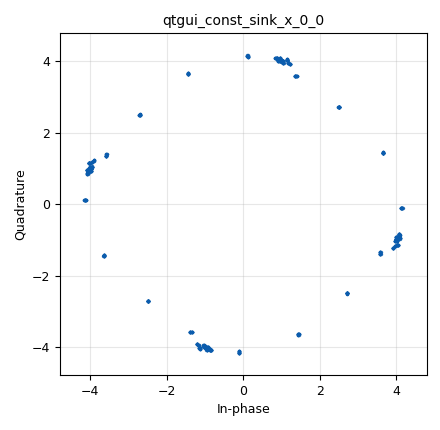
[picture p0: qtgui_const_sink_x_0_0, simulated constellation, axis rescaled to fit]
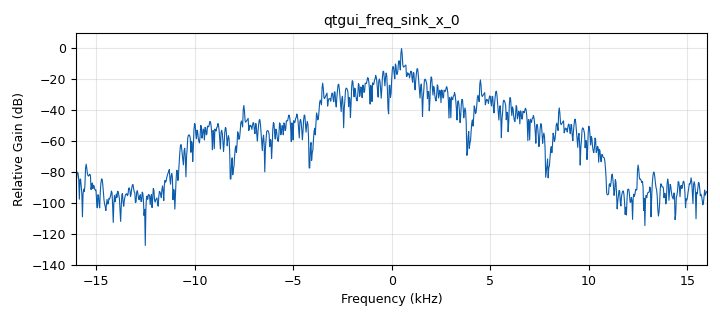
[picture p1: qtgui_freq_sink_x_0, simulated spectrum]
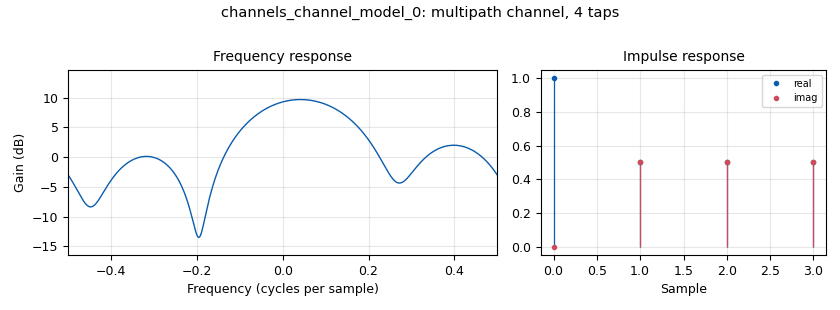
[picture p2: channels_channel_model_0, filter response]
options:
  parameters:
    author: Studente
    generate_options: qt_gui
    id: parta
    output_language: python
    title: Not titled yet
  states: {}

blocks:
- name: a1
  id: variable_qtgui_range
  parameters:
    start: '-2'
    step: '0.1'
    stop: '2'
    value: '0.5'
  states: {}
- name: a2
  id: variable_qtgui_range
  parameters:
    start: '-2'
    step: '0.1'
    stop: '2'
    value: '0.5'
  states: {}
- name: b1
  id: variable_qtgui_range
  parameters:
    start: '-2'
    step: '0.1'
    stop: '2'
    value: '0.5'
  states: {}
- name: b2
  id: variable_qtgui_range
  parameters:
    start: '-2'
    step: '0.1'
    stop: '2'
    value: '0.5'
  states: {}
- name: c1
  id: variable_qtgui_range
  parameters:
    start: '-2'
    step: '0.1'
    stop: '2'
    value: '0.5'
  states: {}
- name: c2
  id: variable_qtgui_range
  parameters:
    start: '-2'
    step: '0.1'
    stop: '2'
    value: '0.5'
  states: {}
- name: samp_rate
  id: variable
  parameters:
    value: '32000'
  states: {}
- name: analog_random_source_x_0
  id: analog_random_source_x
  parameters:
    max: '2'
    min: '0'
    num_samps: '100000'
    repeat: 'True'
    type: byte
  states: {}
- name: blocks_multiply_const_vxx_0
  id: blocks_multiply_const_vxx
  parameters:
    const: 1+1j
    type: complex
  states: {}
- name: blocks_throttle2_0
  id: blocks_throttle2
  parameters:
    samples_per_second: samp_rate
    type: byte
  states: {}
- name: channels_channel_model_0
  id: channels_channel_model
  parameters:
    epsilon: '1.0'
    freq_offset: '0.0'
    noise_voltage: '0.001'
    seed: '0'
    taps: '[1,a1+a2*1j,b1+b2*1j,c1+c2*1j]'
  states: {}
- name: digital_psk_mod_0
  id: digital_psk_mod
  parameters:
    constellation_points: '4'
    differential: 'True'
    excess_bw: '0.35'
    mod_code: '"gray"'
    samples_per_symbol: '2'
  states: {}
- name: qtgui_const_sink_x_0_0
  id: qtgui_const_sink_x
  parameters:
    size: '1024'
    type: complex
  states: {}
- name: qtgui_freq_sink_x_0
  id: qtgui_freq_sink_x
  parameters:
    bw: samp_rate
    fc: '0'
    fftsize: '1024'
    type: complex
  states: {}

connections:
- [analog_random_source_x_0, '0', blocks_throttle2_0, '0']
- [blocks_multiply_const_vxx_0, '0', channels_channel_model_0, '0']
- [blocks_throttle2_0, '0', digital_psk_mod_0, '0']
- [channels_channel_model_0, '0', qtgui_const_sink_x_0_0, '0']
- [channels_channel_model_0, '0', qtgui_freq_sink_x_0, '0']
- [digital_psk_mod_0, '0', blocks_multiply_const_vxx_0, '0']

metadata:
  file_format: 1
  grc_version: 3.10.7.0
